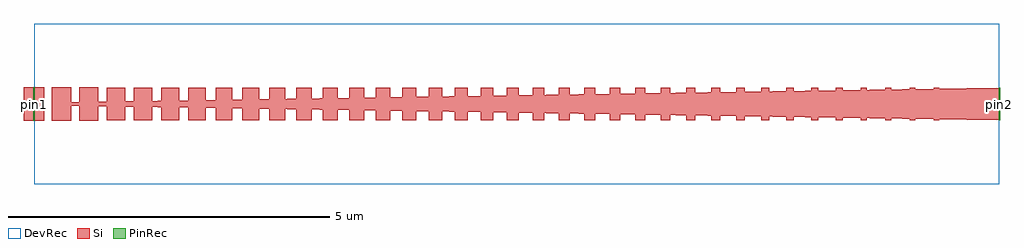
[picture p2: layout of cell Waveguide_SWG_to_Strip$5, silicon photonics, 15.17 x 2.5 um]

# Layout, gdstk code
import gdstk
lib = gdstk.Library(unit=1e-6, precision=1e-09)
def R(c, l, rs):  # rectangles x0, y0, x1, y1
    for r in rs: c.add(gdstk.rectangle(r[:2], r[2:], *l))
def P(c, l, *ps):  # polygons
    for p in ps: c.add(gdstk.Polygon(p, *l))
Si = (1, 0)
PinRec = (1, 10)
DevRec = (68, 0)

waveguide_swg_to_strip_5 = lib.new_cell('Waveguide_SWG_to_Strip$5')
R(waveguide_swg_to_strip_5, Si, [(-0.157,-0.257,0.157,0.257), (0.272,-0.257,0.579,0.257), (0.7,-0.257,1,0.257), (1.127,-0.256,1.419,0.256), (1.552,-0.256,1.838,0.256), (1.976,-0.256,2.254,0.256), (2.398,-0.256,2.669,0.256), (2.819,-0.256,3.083,0.256), (3.238,-0.255,3.495,0.255), (3.656,-0.255,3.905,0.255), (4.072,-0.255,4.315,0.255), (4.487,-0.255,4.722,0.255), (4.9,-0.255,5.129,0.255), (5.312,-0.254,5.534,0.254), (5.722,-0.254,5.937,0.254), (6.131,-0.254,6.339,0.254), (6.538,-0.254,6.739,0.254), (6.944,-0.253,7.138,0.253), (7.348,-0.253,7.535,0.253), (7.75,-0.253,7.931,0.253), (8.151,-0.253,8.325,0.253), (8.55,-0.253,8.718,0.253), (8.948,-0.252,9.109,0.252), (9.344,-0.252,9.499,0.252), (9.739,-0.252,9.887,0.252), (10.132,-0.252,10.274,0.252), (10.524,-0.252,10.66,0.252), (10.914,-0.251,11.044,0.251), (11.303,-0.251,11.426,0.251), (11.69,-0.251,11.807,0.251), (12.076,-0.251,12.187,0.251), (12.46,-0.251,12.565,0.251), (12.843,-0.25,12.942,0.25), (13.224,-0.25,13.317,0.25), (13.604,-0.25,13.691,0.25), (13.982,-0.25,14.063,0.25)])
P(waveguide_swg_to_strip_5, Si, [(15,-0.25),(0.416,-0.03),(0.416,0.03),(15,0.25)])
R(waveguide_swg_to_strip_5, DevRec, [(0,-1.25,15,1.25)])
waveguide_swg_to_strip_5.add(gdstk.FlexPath([(0.01,0),(-0.01,0)], 0.515, ends="flush", simple_path=True, layer=1, datatype=10))  # PinRec
waveguide_swg_to_strip_5.add(gdstk.FlexPath([(14.99,0),(15.01,0)], 0.5, ends="flush", simple_path=True, layer=1, datatype=10))  # PinRec
waveguide_swg_to_strip_5.add(gdstk.Label('pin1', (0,0), layer=1, texttype=10))
waveguide_swg_to_strip_5.add(gdstk.Label('pin2', (15,0), layer=1, texttype=10))

lib.write_gds('Waveguide_SWG_to_Strip_5.gds')
